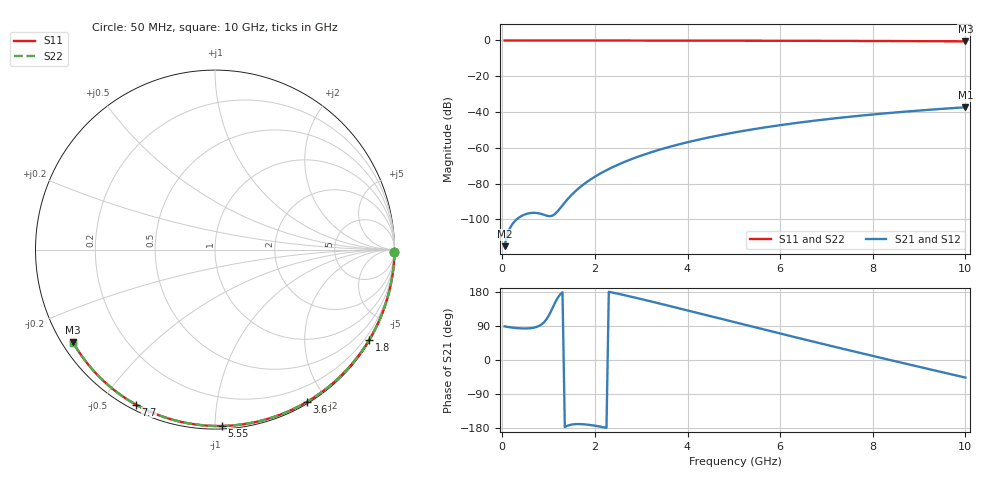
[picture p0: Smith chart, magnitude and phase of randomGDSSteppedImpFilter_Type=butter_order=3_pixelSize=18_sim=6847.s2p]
! freq	dB(S11)	phase(S11)	dB(S12)	phase(S12)
!  dB(S21)	phase(S21)	dB(S22)	phase(S22)
!S-par simulation data
#  GHz  S  DB  R 50
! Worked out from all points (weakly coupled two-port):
!   200 points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, 50 MHz to 10 GHz, reference 50 ohm
!   highest |S21| = -37.32 dB at 10 GHz (marker M1); lowest = -114.9 dB at 50 MHz (marker M2)
!   lowest |S11| = -0.5 dB at 10 GHz (marker M3), VSWR 35.01, Z = 1.55 - j14.9 ohm
!   |S11| at or under -10 dB: nowhere
!   |S22| runs from -0.5 to 0.0 dB; largest |S21 - S12| = 0
!   S11 on the Smith chart (normalised r, x): 50 MHz: open; 1.8 GHz: 0.03, -3.70; 3.6 GHz: 0.02, -1.77; 5.55 GHz: 0.02, -1.04; 7.7 GHz: 0.02, -0.61; 10 GHz: 0.03, -0.30
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0.05  -0.00 -0.9  -114.94 88.7  -114.94 88.7  -0.00 -0.9
0.45  -0.01 -7.7  -97.61 83.3  -97.61 83.3  -0.01 -7.7
0.9  -0.02 -15.3  -97.40 99.5  -97.40 99.5  -0.02 -15.3
1.3  -0.03 -22.0  -92.08 178.8  -92.08 178.8  -0.03 -21.9
1.75  -0.04 -29.4  -80.52 -169.6  -80.52 -169.6  -0.04 -29.4
1.8  -0.04 -30.3  -79.55 -170.1  -79.55 -170.1  -0.04 -30.2
1.95  -0.04 -32.7  -76.91 -172.4  -76.91 -172.4  -0.04 -32.7
2.1  -0.04 -35.2  -74.59 -175.3  -74.59 -175.3  -0.04 -35.1
2.3  -0.05 -38.4  -71.83 180.0  -71.83 180.0  -0.05 -38.4
2.5  -0.05 -41.7  -69.40 174.8  -69.40 174.8  -0.05 -41.6
2.9  -0.06 -48.0  -65.24 163.7  -65.24 163.7  -0.06 -48.0
3.4  -0.07 -55.9  -60.99 148.9  -60.99 148.9  -0.07 -55.8
3.6  -0.08 -59.0  -59.52 142.9  -59.52 142.9  -0.08 -58.9
4.3  -0.10 -69.6  -55.07 121.6  -55.07 121.6  -0.10 -69.5
5.05  -0.12 -80.7  -51.23 98.7  -51.23 98.7  -0.12 -80.5
5.55  -0.14 -87.8  -49.06 83.5  -49.06 83.5  -0.14 -87.7
6.1  -0.17 -95.5  -46.96 66.9  -46.96 66.9  -0.17 -95.4
6.7  -0.20 -103.7  -44.95 48.9  -44.95 48.9  -0.20 -103.6
7.7  -0.27 -117.1  -42.11 19.5  -42.11 19.5  -0.27 -116.9
8.35  -0.32 -125.5  -40.54 0.6  -40.54 0.6  -0.32 -125.4
9.2  -0.40 -136.5  -38.76 -23.7  -38.76 -23.7  -0.40 -136.4
10  -0.50 -146.9  -37.32 -46.3  -37.32 -46.3  -0.49 -146.7
